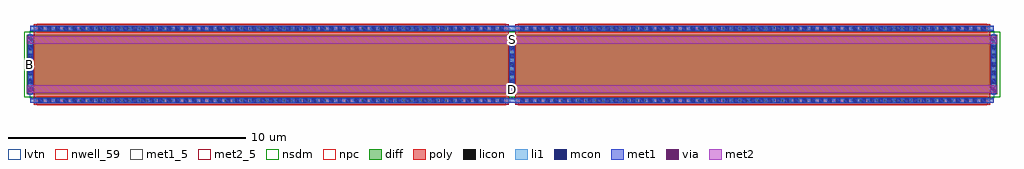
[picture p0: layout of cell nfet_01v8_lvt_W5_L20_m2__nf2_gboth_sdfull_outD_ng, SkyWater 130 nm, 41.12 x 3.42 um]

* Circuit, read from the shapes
.subckt nfet_01v8_lvt_W5_L20_m2__nf2_gboth_sdfull_outD_ng B D G S
XM1 S G D B sky130_fd_pr__nfet_01v8_lvt w=2.5 l=20 m=2
.ends

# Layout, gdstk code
import gdstk
lib = gdstk.Library(unit=1e-6, precision=1e-09)
def R(c, l, rs):  # rectangles x0, y0, x1, y1
    for r in rs: c.add(gdstk.rectangle(r[:2], r[2:], *l))
def A(c, l, x, y, w, h, nx, ny, dx, dy):  # array of equal rectangles
    R(c, l, [(x+i*dx, y+j*dy, x+i*dx+w, y+j*dy+h) for i in range(nx) for j in range(ny)])
nwell_59 = (64, 59)
diff = (65, 20)
poly = (66, 20)
licon = (66, 44)
li1 = (67, 20)
mcon = (67, 44)
met1_5 = (68, 5)
met1 = (68, 20)
via = (68, 44)
met2_5 = (69, 5)
met2 = (69, 20)
nsdm = (93, 44)
npc = (95, 20)
lvtn = (125, 44)

sky130_fd_pr__nfet_01v8_ = lib.new_cell('sky130_fd_pr__nfet_01v8_lvt_F8Q8HC')
R(sky130_fd_pr__nfet_01v8_, diff, [(-20.435,-1.25,20.435,1.25)])
R(sky130_fd_pr__nfet_01v8_, poly, [(-20.145,-1.69,-0.145,1.69), (0.145,-1.69,20.145,1.69)])
A(sky130_fd_pr__nfet_01v8_, licon, -19.92, -1.61, 0.17, 0.17, 58, 2, 0.34, 3.05)
A(sky130_fd_pr__nfet_01v8_, licon, 0.37, -1.61, 0.17, 0.17, 58, 2, 0.34, 3.05)
A(sky130_fd_pr__nfet_01v8_, licon, -20.375, -1.105, 0.17, 0.17, 3, 7, 20.29, 0.34)
A(sky130_fd_pr__nfet_01v8_, li1, -20.375, -1.27, 0.17, 2.54, 3, 1, 20.29, 0)
R(sky130_fd_pr__nfet_01v8_, li1, [(-20.29,-1.61,20.29,-1.44), (-20.29,1.44,20.29,1.61)])
A(sky130_fd_pr__nfet_01v8_, mcon, -19.95, -1.61, 0.17, 0.17, 55, 2, 0.36, 3.05)
A(sky130_fd_pr__nfet_01v8_, mcon, 0.34, -1.61, 0.17, 0.17, 55, 2, 0.36, 3.05)
A(sky130_fd_pr__nfet_01v8_, mcon, -20.375, -1.165, 0.17, 0.17, 3, 7, 20.29, 0.36)
A(sky130_fd_pr__nfet_01v8_, met1, -20.405, -1.25, 0.23, 2.5, 3, 1, 20.29, 0)
R(sky130_fd_pr__nfet_01v8_, met1, [(-20.125,-1.64,-0.165,-1.61), (0.165,-1.64,20.125,-1.61), (-20.29,-1.61,20.29,-1.44), (-20.125,-1.44,-0.165,-1.41), (0.165,-1.44,20.125,-1.41), (-20.125,1.41,-0.165,1.44), (0.165,1.41,20.125,1.44), (-20.29,1.44,20.29,1.61), (-20.125,1.61,-0.165,1.64), (0.165,1.61,20.125,1.64)])
R(sky130_fd_pr__nfet_01v8_, nsdm, [(-20.56,-1.375,20.56,1.375)])
R(sky130_fd_pr__nfet_01v8_, npc, [(-20.02,-1.71,-0.27,-1.34), (0.27,-1.71,20.02,-1.34), (-20.02,1.34,-0.27,1.71), (0.27,1.34,20.02,1.71)])
R(sky130_fd_pr__nfet_01v8_, lvtn, [(-20.325,-1.43,20.325,1.43)])
sky130_fd_pr__nfet_01v8_.add(gdstk.Label('D0', (-20.29,0), layer=67, texttype=5))
sky130_fd_pr__nfet_01v8_.add(gdstk.Label('G', (10.145,1.525), layer=67, texttype=5))
sky130_fd_pr__nfet_01v8_.add(gdstk.Label('G', (-10.145,1.525), layer=67, texttype=5))
sky130_fd_pr__nfet_01v8_.add(gdstk.Label('S1', (0,0), layer=67, texttype=5))

nfet_01v8_lvt_w5_l20_m2_ = lib.new_cell('nfet_01v8_lvt_W5_L20_m2__nf2_gboth_sdfull_outD_ng')
R(nfet_01v8_lvt_w5_l20_m2_, nwell_59, [(0.05,1.64,0.15,1.74)])
R(nfet_01v8_lvt_w5_l20_m2_, met1_5, [(0.145,3.1,40.725,3.33)])
R(nfet_01v8_lvt_w5_l20_m2_, met1, [(0.015,0.49,0.275,0.81), (40.595,0.49,40.855,0.81), (20.305,2.57,20.565,2.89), (0.145,3.1,40.725,3.33)])
R(nfet_01v8_lvt_w5_l20_m2_, via, [(0.07,0.575,0.22,0.725), (40.65,0.575,40.8,0.725), (20.36,2.655,20.51,2.805)])
R(nfet_01v8_lvt_w5_l20_m2_, met2_5, [(0.01,0.49,40.86,0.81), (0.01,2.57,40.86,2.89)])
R(nfet_01v8_lvt_w5_l20_m2_, met2, [(0.01,0.49,40.86,0.81), (0.01,2.57,40.86,2.89)])
nfet_01v8_lvt_w5_l20_m2_.add(gdstk.Reference(sky130_fd_pr__nfet_01v8_, (20.435,1.69)))
nfet_01v8_lvt_w5_l20_m2_.add(gdstk.Label('S', (20.435,2.73), layer=69, texttype=5))
nfet_01v8_lvt_w5_l20_m2_.add(gdstk.Label('D', (20.435,0.65), layer=69, texttype=5))
nfet_01v8_lvt_w5_l20_m2_.add(gdstk.Label('G', (20.435,3.215), layer=68, texttype=5))
nfet_01v8_lvt_w5_l20_m2_.add(gdstk.Label('B', (0.1,1.69), layer=64, texttype=59))

lib.write_gds('nfet_01v8_lvt_W5_L20_m2__nf2_gboth_sdfull_outD_ng.gds')
